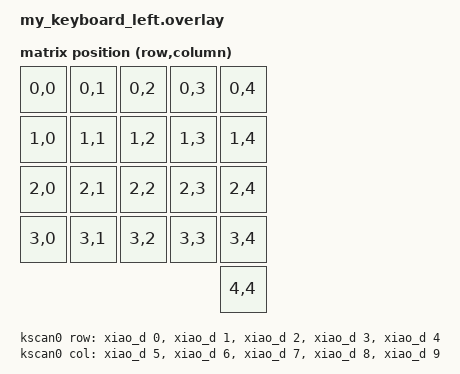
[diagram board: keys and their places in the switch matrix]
/*
 * my_keyboard_left.overlay
 * Left half — 42-key wireless split keyboard
 * MCU: Seeed XIAO BLE (nRF52840)
 *
 * Matrix read from schematic: 5 cols × 5 rows, 21 keys
 * Diode direction: COL2ROW (cathode → row line)
 *
 * Physical layout:
 *
 *  COL:  0      1      2      3      4
 *  ROW0: SW2    SW4    SW7    SW8    SW10      (5 keys)
 *  ROW1: SW16   SW17   SW18   SW19   SW20      (5 keys)
 *  ROW2: SW26   SW27   SW28   SW29   SW30      (5 keys)
 *  ROW3: SW36   SW37   SW38   SW39   SW40      (5 keys)
 *  ROW4: —      —      —      —      SW42      (1 key — bottom-right thumb)
 *
 * Total: 21 keys ✓
 *
 * GPIO assignment (XIAO BLE — adjust if your PCB routes differently):
 *   ROW0 → D0   ROW1 → D1   ROW2 → D2   ROW3 → D3   ROW4 → D4
 *   COL0 → D5   COL1 → D6   COL2 → D7   COL3 → D8   COL4 → D9
 *
 * Key index map (used in keymap file):
 *   0   1   2   3   4
 *   5   6   7   8   9
 *  10  11  12  13  14
 *  15  16  17  18  19
 *                  20   ← SW42 (thumb)
 */

#include <dt-bindings/zmk/matrix_transform.h>

/ {
    chosen {
        zmk,kscan     = &kscan0;
        zmk,matrix_transform = &default_transform;
    };

    default_transform: keymap_transform_0 {
        compatible = "zmk,matrix-transform";
        columns = <5>;
        rows    = <5>;

        map = <
        /*  ROW0 */ RC(0,0) RC(0,1) RC(0,2) RC(0,3) RC(0,4)
        /*  ROW1 */ RC(1,0) RC(1,1) RC(1,2) RC(1,3) RC(1,4)
        /*  ROW2 */ RC(2,0) RC(2,1) RC(2,2) RC(2,3) RC(2,4)
        /*  ROW3 */ RC(3,0) RC(3,1) RC(3,2) RC(3,3) RC(3,4)
        /*  ROW4 */                                  RC(4,4)
        >;
    };

    kscan0: kscan {
        compatible = "zmk,kscan-gpio-matrix";
        label = "KSCAN";

        diode-direction = "col2row";

        /*
         * Rows — driven HIGH during scan, keys pulled DOWN
         * Change D0-D4 to match your PCB's row traces
         */
        row-gpios
            = <&xiao_d 0 (GPIO_ACTIVE_HIGH | GPIO_PULL_DOWN)>  /* ROW0 */
            , <&xiao_d 1 (GPIO_ACTIVE_HIGH | GPIO_PULL_DOWN)>  /* ROW1 */
            , <&xiao_d 2 (GPIO_ACTIVE_HIGH | GPIO_PULL_DOWN)>  /* ROW2 */
            , <&xiao_d 3 (GPIO_ACTIVE_HIGH | GPIO_PULL_DOWN)>  /* ROW3 */
            , <&xiao_d 4 (GPIO_ACTIVE_HIGH | GPIO_PULL_DOWN)>  /* ROW4 */
            ;

        /*
         * Columns — read as inputs
         * Change D5-D9 to match your PCB's column traces
         */
        col-gpios
            = <&xiao_d 5 GPIO_ACTIVE_HIGH>  /* COL0 */
            , <&xiao_d 6 GPIO_ACTIVE_HIGH>  /* COL1 */
            , <&xiao_d 7 GPIO_ACTIVE_HIGH>  /* COL2 */
            , <&xiao_d 8 GPIO_ACTIVE_HIGH>  /* COL3 */
            , <&xiao_d 9 GPIO_ACTIVE_HIGH>  /* COL4 */
            ;
    };
};
